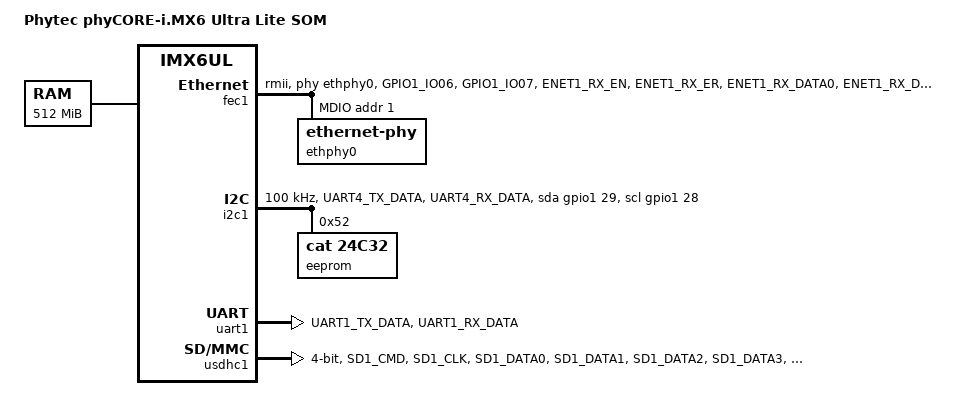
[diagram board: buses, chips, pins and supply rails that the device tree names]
// SPDX-License-Identifier: GPL-2.0+
/*
 * Copyright (C) 2018 Collabora Ltd.
 *
 * Based on dts[i] from Phytec barebox port:
 * Copyright (C) 2016 PHYTEC Messtechnik GmbH
 * Author: Christian Hemp <c.hemp@phytec.de>
 */

/ {
	model = "Phytec phyCORE-i.MX6 Ultra Lite SOM";
	compatible = "phytec,imx6ul-pcl063", "fsl,imx6ul";

	memory {
		reg = <0x80000000 0x20000000>;
	};

	chosen {
		stdout-path = &uart1;
	};
};

&fec1 {
	pinctrl-names = "default";
	pinctrl-0 = <&pinctrl_enet1>;
	phy-mode = "rmii";
	phy-handle = <&ethphy0>;
	status = "okay";

	mdio: mdio {
		#address-cells = <1>;
		#size-cells = <0>;

		ethphy0: ethernet-phy@1 {
			reg = <1>;
			micrel,led-mode = <1>;
		};
	};
};

&gpmi {
	pinctrl-names = "default";
	pinctrl-0 = <&pinctrl_gpmi_nand>;
	nand-on-flash-bbt;
	fsl,no-blockmark-swap;
	status = "disabled";

	#address-cells = <1>;
	#size-cells = <1>;

	partition@0 {
		label = "uboot";
		reg = <0x0 0x400000>;
	};

	partition@400000 {
		label = "uboot-env";
		reg = <0x400000 0x100000>;
	};

	partition@500000 {
		label = "root";
		reg = <0x500000 0x0>;
	};
};

&i2c1 {
	clock-frequency = <100000>;
	pinctrl-names = "default", "gpio";
	pinctrl-0 = <&pinctrl_i2c1>;
	pinctrl-1 = <&pinctrl_i2c1_gpio>;
	scl-gpios = <&gpio1 28 GPIO_ACTIVE_HIGH>;
	sda-gpios = <&gpio1 29 GPIO_ACTIVE_HIGH>;
	status = "okay";

	eeprom@52 {
		compatible = "cat,24c32";
		reg = <0x52>;
	};
};

&uart1 {
	pinctrl-names = "default";
	pinctrl-0 = <&pinctrl_uart1>;
	status = "okay";
};

&usdhc1 {
	pinctrl-names = "default";
	pinctrl-0 = <&pinctrl_usdhc1>;
	cd-gpios = <&gpio1 19 GPIO_ACTIVE_LOW>;
	bus-width = <0x4>;
	pinctrl-0 = <&pinctrl_usdhc1>;
	no-1-8-v;
	status = "okay";
};

&usdhc2 {
	u-boot,dm-spl;
	u-boot,dm-pre-reloc;
	pinctrl-names = "default";
	pinctrl-0 = <&pinctrl_usdhc2>;
	bus-width = <8>;
	no-1-8-v;
	non-removable;
	keep-power-in-suspend;
	status = "disabled";
};

&iomuxc {
	pinctrl-names = "default";

	pinctrl_enet1: enet1grp {
		fsl,pins = <
			MX6UL_PAD_GPIO1_IO06__ENET1_MDIO	0x1b0b0
			MX6UL_PAD_GPIO1_IO07__ENET1_MDC		0X1b0b0
			MX6UL_PAD_ENET1_RX_EN__ENET1_RX_EN	0x1b0b0
			MX6UL_PAD_ENET1_RX_ER__ENET1_RX_ER	0x1b0b0
			MX6UL_PAD_ENET1_RX_DATA0__ENET1_RDATA00	0x1b0b0
			MX6UL_PAD_ENET1_RX_DATA1__ENET1_RDATA01	0x1b0b0
			MX6UL_PAD_ENET1_TX_EN__ENET1_TX_EN	0x1b0b0
			MX6UL_PAD_ENET1_TX_DATA0__ENET1_TDATA00	0x1b0b0
			MX6UL_PAD_ENET1_TX_DATA1__ENET1_TDATA01	0x1b0b0
			MX6UL_PAD_ENET1_TX_CLK__ENET1_REF_CLK1	0x4001b031
		>;
	};

	pinctrl_gpmi_nand: gpminandgrp {
		fsl,pins = <
			MX6UL_PAD_NAND_CLE__RAWNAND_CLE		0x0b0b1
			MX6UL_PAD_NAND_ALE__RAWNAND_ALE		0x0b0b1
			MX6UL_PAD_NAND_WP_B__RAWNAND_WP_B	0x0b0b1
			MX6UL_PAD_NAND_READY_B__RAWNAND_READY_B	0x0b000
			MX6UL_PAD_NAND_CE0_B__RAWNAND_CE0_B	0x0b0b1
			MX6UL_PAD_NAND_RE_B__RAWNAND_RE_B	0x0b0b1
			MX6UL_PAD_NAND_WE_B__RAWNAND_WE_B	0x0b0b1
			MX6UL_PAD_NAND_DATA00__RAWNAND_DATA00	0x0b0b1
			MX6UL_PAD_NAND_DATA01__RAWNAND_DATA01	0x0b0b1
			MX6UL_PAD_NAND_DATA02__RAWNAND_DATA02	0x0b0b1
			MX6UL_PAD_NAND_DATA03__RAWNAND_DATA03	0x0b0b1
			MX6UL_PAD_NAND_DATA04__RAWNAND_DATA04	0x0b0b1
			MX6UL_PAD_NAND_DATA05__RAWNAND_DATA05	0x0b0b1
			MX6UL_PAD_NAND_DATA06__RAWNAND_DATA06	0x0b0b1
			MX6UL_PAD_NAND_DATA07__RAWNAND_DATA07	0x0b0b1
		>;
	};

	pinctrl_i2c1: i2cgrp {
		fsl,pins = <
			MX6UL_PAD_UART4_TX_DATA__I2C1_SCL       0x4001b8b0
			MX6UL_PAD_UART4_RX_DATA__I2C1_SDA       0x4001b8b0
		>;
	};

	pinctrl_i2c1_gpio: i2c1grp_gpio {
		fsl,pins = <
			MX6UL_PAD_UART4_TX_DATA__GPIO1_IO28 0x1b8b0
			MX6UL_PAD_UART4_RX_DATA__GPIO1_IO29 0x1b8b0
		>;
	};

	pinctrl_uart1: uart1grp {
		fsl,pins = <
			MX6UL_PAD_UART1_TX_DATA__UART1_DCE_TX   0x1b0b1
			MX6UL_PAD_UART1_RX_DATA__UART1_DCE_RX   0x1b0b1
		>;
	};

	pinctrl_usdhc1: usdhc1grp {
		fsl,pins = <
			MX6UL_PAD_SD1_CMD__USDHC1_CMD		0x17059
			MX6UL_PAD_SD1_CLK__USDHC1_CLK		0x10059
			MX6UL_PAD_SD1_DATA0__USDHC1_DATA0	0x17059
			MX6UL_PAD_SD1_DATA1__USDHC1_DATA1	0x17059
			MX6UL_PAD_SD1_DATA2__USDHC1_DATA2	0x17059
			MX6UL_PAD_SD1_DATA3__USDHC1_DATA3	0x17059
			MX6UL_PAD_UART1_RTS_B__GPIO1_IO19	0x17059

		>;
	};

	pinctrl_usdhc2: usdhc2grp {
		fsl,pins = <
			MX6UL_PAD_NAND_WE_B__USDHC2_CMD		0x170f9
			MX6UL_PAD_NAND_RE_B__USDHC2_CLK		0x100f9
			MX6UL_PAD_NAND_DATA00__USDHC2_DATA0	0x170f9
			MX6UL_PAD_NAND_DATA01__USDHC2_DATA1	0x170f9
			MX6UL_PAD_NAND_DATA02__USDHC2_DATA2	0x170f9
			MX6UL_PAD_NAND_DATA03__USDHC2_DATA3	0x170f9
			MX6UL_PAD_NAND_DATA04__USDHC2_DATA4	0x170f9
			MX6UL_PAD_NAND_DATA05__USDHC2_DATA5	0x170f9
			MX6UL_PAD_NAND_DATA06__USDHC2_DATA6	0x170f9
			MX6UL_PAD_NAND_DATA07__USDHC2_DATA7	0x170f9
		>;
	};
};
